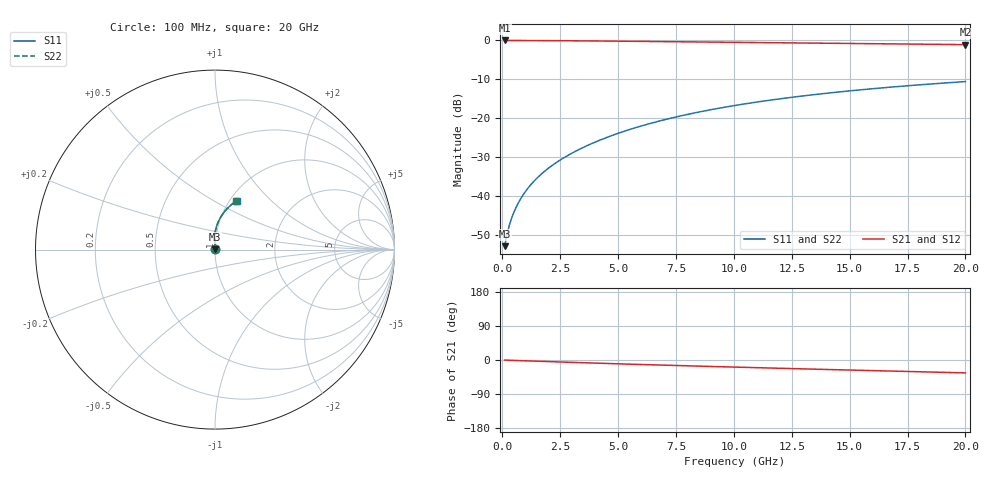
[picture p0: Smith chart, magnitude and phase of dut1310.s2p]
! Touchstone file exported from HFSS 2024.1.0
!  File:  C:/UserFiles/LocalFiles/RDL_TSV_Batchsim/temp_RDL_top_1310_1780364637.aedt
!  Generated:  09:46:11 AM Jun  2, 2026
!  Design:  RDL_top
!  Project:  temp_RDL_top_1310_1780364637
!  Setup:  Setup1
!  Solution:  Sweep
! Variables:
!  dtsv = 10.80580581um
!  hbump = 3um
!  htsv = 74.28um
!  ldown = 100um
!  lrdl = 470.43um
!  p = 40
!  p1 = 58.5um
!  rhole = 1um
!  t = 450um
!  tdown = 3.915915916um
!  trdl = 3.43um
!  wdown = 15.38538539um
!  wrdl = 29.91um
# GHz S MA R 50.000000
! Terminal data exported
! Port[1] = Box2_T1
! Port[2] = Box2_T2
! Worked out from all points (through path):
!   200 points, 100 MHz to 20 GHz, reference 50 ohm
!   highest |S21| = -0.02 dB at 100 MHz (marker M1); lowest = -1.1 dB at 20 GHz (marker M2)
!   group delay of S21, straight-line fit = 4.64 ps
!   lowest |S11| = -52.8 dB at 100 MHz (marker M3), VSWR 1.00, Z = 50.2 + j0.131 ohm
!   |S11| at or under -10 dB: start of sweep to end of sweep
!   |S22| runs from -52.8 to -10.6 dB; largest |S21 - S12| = 3e-15
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0.1  0.002293 34.6  0.9981 -0.2  0.9981 -0.2  0.002293 34.6
! Gamma 0 0 0 0
! Port Impedance 50 0 50 0
0.2  0.003216 51.3  0.9979 -0.4  0.9979 -0.4  0.003216 51.3
0.3  0.004211 59.9  0.9978 -0.7  0.9978 -0.7  0.004211 59.9
0.4  0.005215 65.4  0.9976 -0.9  0.9976 -0.9  0.005215 65.4
0.5  0.00623 69.4  0.9974 -1.1  0.9974 -1.1  0.00623 69.4
0.6  0.00726 72.4  0.9973 -1.3  0.9973 -1.3  0.00726 72.4
0.8  0.009367 76.9  0.9969 -1.7  0.9969 -1.7  0.009367 76.9
1.1  0.01263 81.2  0.9963 -2.3  0.9963 -2.3  0.01263 81.2
1.3  0.01486 83.1  0.9958 -2.8  0.9958 -2.8  0.01486 83.2
1.6  0.0183 85.4  0.9949 -3.4  0.9949 -3.4  0.0183 85.4
2.1  0.02424 87.9  0.9932 -4.4  0.9932 -4.4  0.02424 87.9
2.7  0.03175 89.8  0.9906 -5.6  0.9906 -5.6  0.03175 89.8
3.5  0.04241 91.2  0.9865 -7.2  0.9865 -7.2  0.04242 91.2
4.2  0.05233 91.6  0.9824 -8.6  0.9824 -8.6  0.05235 91.7
5  0.06424 91.5  0.9773 -10.1  0.9773 -10.1  0.06427 91.6
6.8  0.09271 89.8  0.9654 -13.3  0.9654 -13.3  0.09277 89.9
8.4  0.119 87.3  0.9547 -16.1  0.9547 -16.1  0.1191 87.4
10.1  0.1472 84.2  0.9436 -18.9  0.9436 -18.9  0.1473 84.3
11.7  0.1733 81.2  0.9335 -21.4  0.9335 -21.4  0.1735 81.3
13.4  0.2005 78.0  0.9229 -24.1  0.9229 -24.1  0.2007 78.0
16.7  0.2504 71.9  0.9027 -29.1  0.9027 -29.1  0.2506 72.0
20  0.2962 66.1  0.8826 -34.0  0.8826 -34.0  0.2965 66.2
